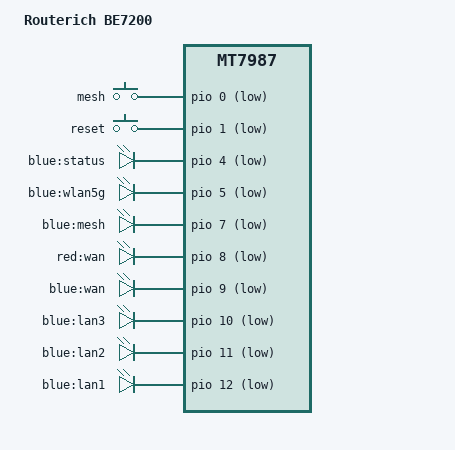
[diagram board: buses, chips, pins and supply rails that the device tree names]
// SPDX-License-Identifier: GPL-2.0
/*
 * Copyright (c) 2025
 * Author: Mikhail Zhilkin <csharper2005@gmail.com>
 */

/dts-v1/;
#include "mt7987a.dtsi"
#include <dt-bindings/input/input.h>

/ {
	model = "Routerich BE7200";
	compatible = "routerich,be7200",
		     "mediatek,mt7987";

	gpio-keys {
		compatible = "gpio-keys";

		button-0 {
			label = "mesh";
			linux,code = <KEY_WPS_BUTTON>;
			gpios = <&pio 0 GPIO_ACTIVE_LOW>;
			debounce-interval = <10>;
		};

		button-1 {
			label = "reset";
			linux,code = <KEY_RESTART>;
			gpios = <&pio 1 GPIO_ACTIVE_LOW>;
			debounce-interval = <10>;
		};
	};

	leds {
		compatible = "gpio-leds";

		led-0 {
			label = "blue:status";
			gpios = <&pio 4 GPIO_ACTIVE_LOW>;
		};

		led-1 {
			label = "blue:wlan5g";
			gpios = <&pio 5 GPIO_ACTIVE_LOW>;
		};

		led-2 {
			label = "blue:mesh";
			gpios = <&pio 7 GPIO_ACTIVE_LOW>;
		};

		led-3 {
			label = "red:wan";
			gpios = <&pio 8 GPIO_ACTIVE_LOW>;
		};

		led-4 {
			label = "blue:wan";
			gpios = <&pio 9 GPIO_ACTIVE_LOW>;
		};

		led-5 {
			label = "blue:lan3";
			gpios = <&pio 10 GPIO_ACTIVE_LOW>;
		};

		led-6 {
			label = "blue:lan2";
			gpios = <&pio 11 GPIO_ACTIVE_LOW>;
		};

		led-7 {
			label = "blue:lan1";
			gpios = <&pio 12 GPIO_ACTIVE_LOW>;
		};
	};
};
